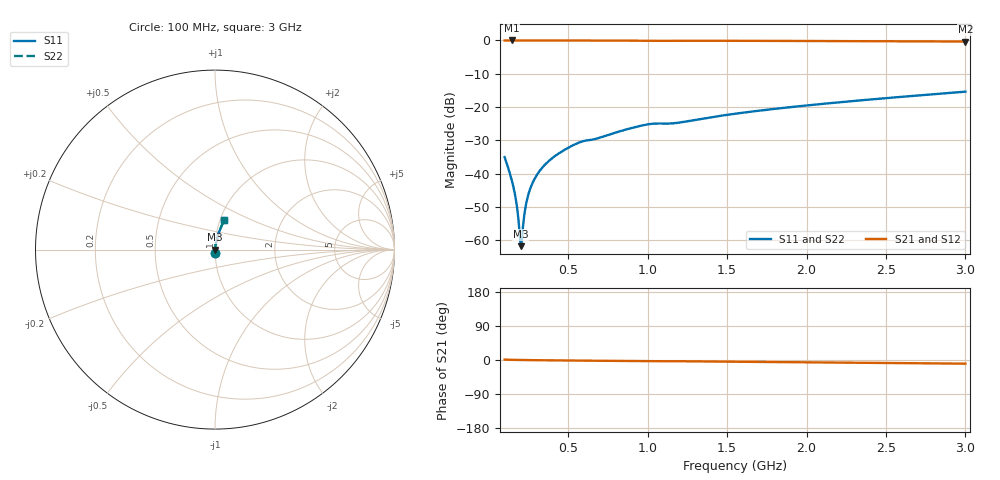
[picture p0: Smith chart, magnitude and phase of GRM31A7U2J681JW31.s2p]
!Murata Part Number: GRM31A7U2J681JW31
!These Parameters are Measured in Series Mode Connection
!Data Generated on Mar 30, 2021
!  o--ll--o
!Port1  Port2
!  o------o
!Operation Temp=25[degC], DC Bias Voltage=0[V]
!Freq. Start=100[MHz] Stop=3[GHz] 401[Steps]
# Hz S RI R 50
!Freq.(Hz) S11(Real) S11(Imag) S21(Real) S21(Imag) S12(Real) S12(Imag) S22(Real) S22(Imag)
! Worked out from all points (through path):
!   401 points, 100 MHz to 3 GHz, reference 50 ohm
!   highest |S21| = -0.01 dB at 143.5 MHz (marker M1); lowest = -0.3 dB at 3 GHz (marker M2)
!   group delay of S21, straight-line fit = 9.17 ps
!   lowest |S11| = -61.8 dB at 201.5 MHz (marker M3), VSWR 1.00, Z = 50.1 - j0.0199 ohm
!   |S11| at or under -10 dB: start of sweep to end of sweep
!   |S22| runs from -61.8 to -15.4 dB; largest |S21 - S12| = 0
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1e8  0.000958 -0.0177  0.999 0.0177  0.999 0.0177  0.000958 -0.0177
1.145e8  0.000853 -0.0139  0.9991 0.0139  0.9991 0.0139  0.000853 -0.0139
1.435e8  0.000761 -0.00818  0.9992 0.00818  0.9992 0.00818  0.000761 -0.00818
1.6525e8  0.00075 -0.0048  0.9993 0.0048  0.9993 0.0048  0.00075 -0.0048
1.9425e8  0.000779 -0.00104  0.9992 0.00104  0.9992 0.00104  0.000779 -0.00104
2.015e8  0.000791 -0.000199  0.9992 0.000199  0.9992 0.000199  0.000791 -0.000199
2.0875e8  0.000807 0.000617  0.9992 -0.000617  0.9992 -0.000617  0.000807 0.000617
2.16e8  0.000823 0.00141  0.9992 -0.00141  0.9992 -0.00141  0.000823 0.00141
2.305e8  0.000862 0.00291  0.9991 -0.00291  0.9991 -0.00291  0.000862 0.00291
2.5225e8  0.000932 0.00503  0.9991 -0.00503  0.9991 -0.00503  0.000932 0.00503
2.74e8  0.00101 0.00701  0.999 -0.00701  0.999 -0.00701  0.00101 0.00701
3.1025e8  0.00118 0.0101  0.9988 -0.0101  0.9988 -0.0101  0.00118 0.0101
3.61e8  0.00147 0.0141  0.9985 -0.0141  0.9985 -0.0141  0.00147 0.0141
4.19e8  0.0019 0.0184  0.9981 -0.0184  0.9981 -0.0184  0.0019 0.0184
5.8575e8  0.00518 0.0299  0.9948 -0.0299  0.9948 -0.0299  0.00518 0.0299
9.4825e8  0.00995 0.0509  0.99 -0.0509  0.99 -0.0509  0.00995 0.0509
1.0715e9  0.0157 0.0544  0.9843 -0.0544  0.9843 -0.0544  0.0157 0.0544
1.1875e9  0.0139 0.0562  0.9861 -0.0562  0.9861 -0.0562  0.0139 0.0562
1.55e9  0.0158 0.0778  0.9842 -0.0778  0.9842 -0.0778  0.0158 0.0778
2.03575e9  0.0251 0.1048  0.9749 -0.1048  0.9749 -0.1048  0.0251 0.1048
2.5215e9  0.037 0.1323  0.963 -0.1323  0.963 -0.1323  0.037 0.1323
3e9  0.0514 0.1622  0.9486 -0.1622  0.9486 -0.1622  0.0514 0.1622
